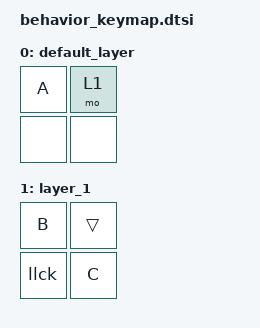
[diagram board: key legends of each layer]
#include <dt-bindings/zmk/keys.h>
#include <behaviors.dtsi>
#include <dt-bindings/zmk/kscan_mock.h>

/ {
    keymap {
        compatible = "zmk,keymap";

        default_layer {
            bindings = <
                &kp A &mo 1
                &none &none>;
        };

        layer_1 {
            bindings = <
                &kp B &trans
                &llck &kp C>;
        };
    };
};
